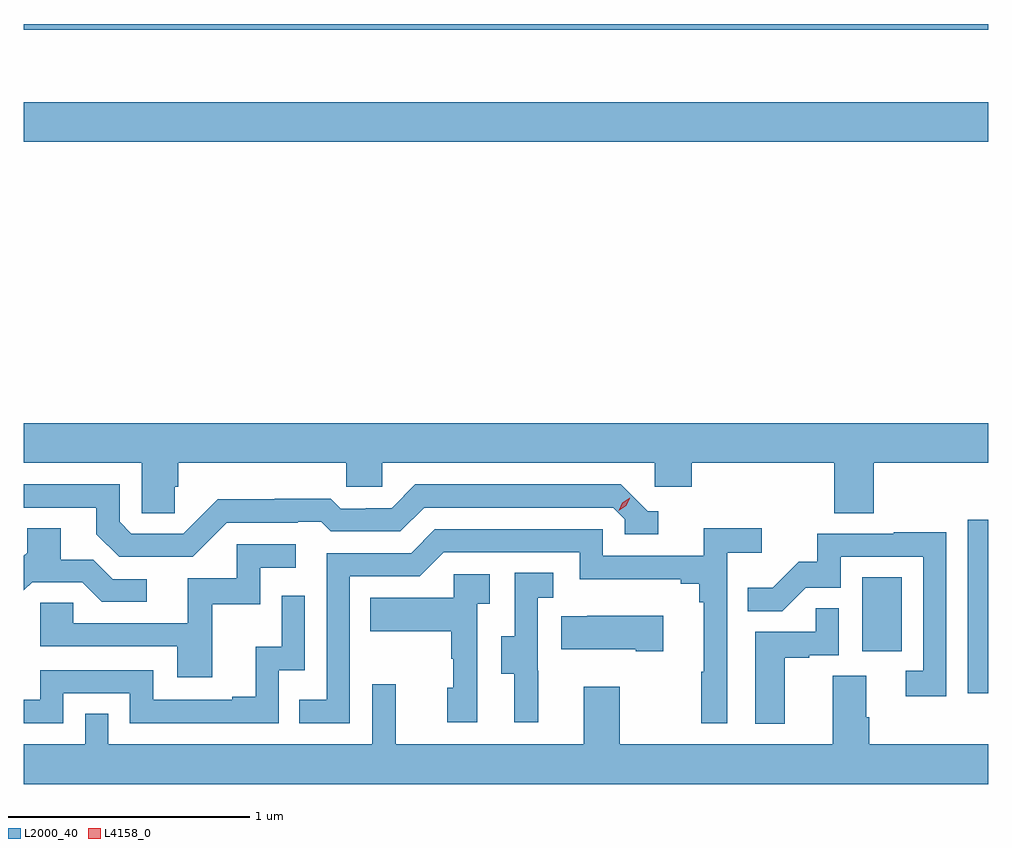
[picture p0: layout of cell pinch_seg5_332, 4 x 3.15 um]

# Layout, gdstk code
import gdstk
lib = gdstk.Library(unit=1e-6, precision=1e-09)
def R(c, l, rs):  # rectangles x0, y0, x1, y1
    for r in rs: c.add(gdstk.rectangle(r[:2], r[2:], *l))
def P(c, l, *ps):  # polygons
    for p in ps: c.add(gdstk.Polygon(p, *l))
L2000_40 = (2000, 40)
L4158_0 = (4158, 0)

pinch_seg5_332 = lib.new_cell('pinch_seg5_332')
R(pinch_seg5_332, L2000_40, [(931.256,891.768,931.34,892.489), (930.818,891.942,930.982,892.249), (927.34,894.056,931.34,894.22), (927.34,894.522,931.34,894.545)])
P(pinch_seg5_332, L2000_40, [(927.965,892.626),(927.98,892.626),(927.98,892.724),(928.677,892.724),(928.677,892.626),(928.827,892.626),(928.827,892.724),(929.958,892.724),(929.958,892.626),(930.11,892.626),(930.11,892.724),(930.701,892.724),(930.701,892.516),(930.866,892.516),(930.866,892.724),(931.34,892.724),(931.34,892.888),(927.34,892.888),(927.34,892.724),(927.828,892.724),(927.828,892.516),(927.965,892.516)],
  [(928.182,892.476),(928.475,892.476),(928.475,892.479),(928.574,892.479),(928.613,892.44),(928.902,892.44),(929.001,892.539),(929.784,892.539),(929.832,892.491),(929.832,892.428),(929.971,892.428),(929.971,892.524),(929.928,892.524),(929.817,892.635),(928.964,892.635),(928.865,892.536),(928.758,892.536),(928.758,892.533),(928.655,892.533),(928.613,892.576),(928.38,892.576),(928.38,892.573),(928.144,892.573),(928.002,892.431),(927.786,892.431),(927.738,892.479),(927.738,892.635),(927.34,892.635),(927.34,892.539),(927.641,892.539),(927.641,892.429),(927.735,892.335),(928.041,892.335)],
  [(927.85,892.242),(927.708,892.242),(927.628,892.322),(927.493,892.322),(927.493,892.454),(927.353,892.454),(927.353,892.352),(927.34,892.339),(927.34,892.195),(927.375,892.23),(927.581,892.23),(927.662,892.149),(927.85,892.149)],
  [(928.692,892.254),(928.983,892.254),(929.082,892.353),(929.646,892.353),(929.646,892.241),(930.065,892.241),(930.065,892.222),(930.142,892.222),(930.142,892.145),(930.161,892.145),(930.161,891.857),(930.15,891.857),(930.15,891.645),(930.258,891.645),(930.258,892.352),(930.4,892.352),(930.4,892.454),(930.161,892.454),(930.161,892.338),(929.742,892.338),(929.742,892.449),(929.045,892.449),(928.946,892.35),(928.596,892.35),(928.596,891.741),(928.483,891.741),(928.483,891.645),(928.692,891.645)],
  [(931.167,892.436),(930.949,892.436),(930.949,892.431),(930.631,892.431),(930.631,892.314),(930.554,892.314),(930.447,892.207),(930.343,892.207),(930.343,892.108),(930.486,892.108),(930.584,892.206),(930.729,892.206),(930.729,892.335),(931.071,892.335),(931.071,891.861),(930.999,891.861),(930.999,891.756),(931.167,891.756)],
  [(928.121,892.137),(928.32,892.137),(928.32,892.29),(928.468,892.29),(928.468,892.386),(928.224,892.386),(928.224,892.245),(928.019,892.245),(928.019,892.059),(927.545,892.059),(927.545,892.143),(927.408,892.143),(927.408,891.963),(927.977,891.963),(927.977,891.834),(928.121,891.834)],
  [(929.474,891.861),(929.472,891.861),(929.472,892.165),(929.536,892.165),(929.536,892.268),(929.376,892.268),(929.376,892.005),(929.321,892.005),(929.321,891.85),(929.375,891.85),(929.375,891.648),(929.474,891.648)],
  [(929.22,892.139),(929.272,892.139),(929.272,892.263),(929.124,892.263),(929.124,892.165),(928.777,892.165),(928.777,892.025),(929.112,892.025),(929.112,891.911),(929.122,891.911),(929.122,891.792),(929.096,891.792),(929.096,891.648),(929.22,891.648)],
  [(927.504,891.768),(927.78,891.768),(927.78,891.645),(928.398,891.645),(928.398,891.864),(928.506,891.864),(928.506,892.174),(928.41,892.174),(928.41,891.962),(928.301,891.962),(928.301,891.754),(928.205,891.754),(928.205,891.741),(927.876,891.741),(927.876,891.864),(927.408,891.864),(927.408,891.741),(927.34,891.741),(927.34,891.645),(927.504,891.645)],
  [(930.496,891.915),(930.599,891.915),(930.599,891.927),(930.72,891.927),(930.72,892.121),(930.625,892.121),(930.625,892.023),(930.374,892.023),(930.374,891.641),(930.496,891.641)],
  [(929.992,892.09),(929.677,892.09),(929.677,892.087),(929.569,892.087),(929.569,891.95),(929.879,891.95),(929.879,891.943),(929.992,891.943)],
  [(931.34,891.556),(930.848,891.556),(930.848,891.668),(930.835,891.668),(930.835,891.842),(930.695,891.842),(930.695,891.556),(929.811,891.556),(929.811,891.796),(929.663,891.796),(929.663,891.556),(928.883,891.556),(928.883,891.805),(928.785,891.805),(928.785,891.556),(927.69,891.556),(927.69,891.683),(927.594,891.683),(927.594,891.556),(927.34,891.556),(927.34,891.392),(931.34,891.392)])
P(pinch_seg5_332, L4158_0, [(929.807,892.526),(929.807,892.526),(929.823,892.559),(929.853,892.579),(929.853,892.579),(929.853,892.578),(929.838,892.546),(929.807,892.526)])

lib.write_gds('pinch_seg5_332.gds')
